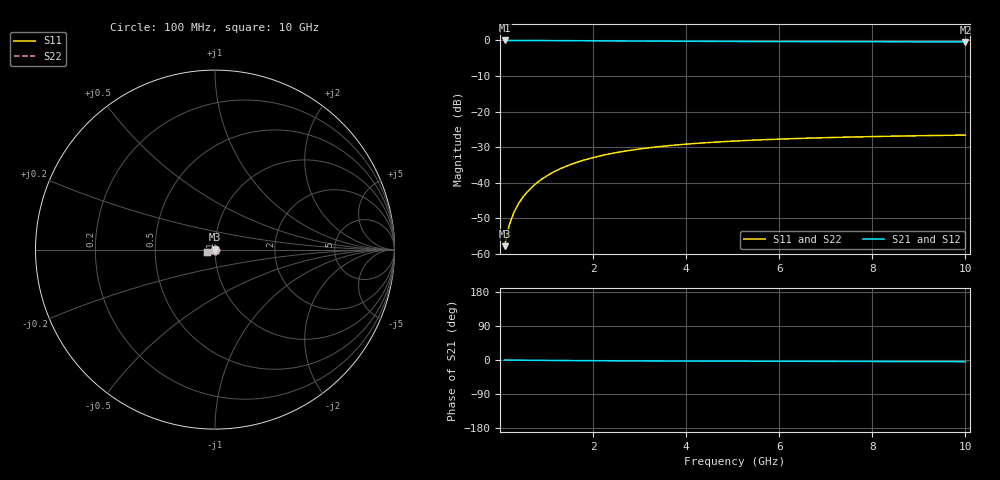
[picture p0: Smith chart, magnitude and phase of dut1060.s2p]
! Touchstone file exported from HFSS 2024.1.0
!  File:  C:/UserFiles/LocalFiles/RDL_TSV_Batchsim/temp_TSV1_1060_1780063478.aedt
!  Generated:  10:11:20 PM May 29, 2026
!  Design:  TSV1
!  Project:  temp_TSV1_1060_1780063478
!  Setup:  Setup1
!  Solution:  Sweep
! Variables:
!  dtsv = 12.77um
!  hbump = 3um
!  htsv = 64.85um
!  lrdl = 252.1521522um
!  p = 40
!  p1 = 46.8um
!  t = 500um
!  trdl = 3um
!  wrdl = 24.89489489um
# GHz S MA R 50.000000
! Terminal data exported
! Port[1] = TSV22_T1
! Port[2] = TSV22_T2
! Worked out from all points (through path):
!   100 points, 100 MHz to 10 GHz, reference 50 ohm
!   highest |S21| = 0.00 dB at 100 MHz (marker M1); lowest = -0.4 dB at 10 GHz (marker M2)
!   lowest |S11| = -57.8 dB at 100 MHz (marker M3), VSWR 1.00, Z = 50 - j0.129 ohm
!   |S11| at or under -10 dB: start of sweep to end of sweep
!   |S22| runs from -57.8 to -26.6 dB; largest |S21 - S12| = 5.2e-15
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0.1  0.001286 -88.0  0.9999 -0.1  0.9999 -0.1  0.001286 -88.0
! Gamma 0 0 0 0
! Port Impedance 50 0 50 0
0.2  0.002566 -91.5  0.9998 -0.2  0.9998 -0.2  0.002566 -91.5
0.3  0.003844 -93.8  0.9996 -0.3  0.9996 -0.3  0.003844 -93.8
0.4  0.005115 -95.7  0.9993 -0.4  0.9993 -0.4  0.005115 -95.7
0.5  0.006375 -97.5  0.999 -0.5  0.999 -0.5  0.006375 -97.5
0.6  0.007623 -99.2  0.9986 -0.7  0.9986 -0.7  0.007623 -99.2
0.7  0.008855 -100.8  0.9981 -0.8  0.9981 -0.8  0.008855 -100.8
0.8  0.01007 -102.4  0.9976 -0.9  0.9976 -0.9  0.01007 -102.4
0.9  0.01126 -104.0  0.997 -1.0  0.997 -1.0  0.01126 -104.0
1.1  0.01357 -107.0  0.9957 -1.1  0.9957 -1.1  0.01357 -107.0
1.4  0.01684 -111.3  0.9936 -1.4  0.9936 -1.4  0.01684 -111.3
1.6  0.01887 -114.1  0.992 -1.6  0.992 -1.6  0.01887 -114.1
1.8  0.02078 -116.7  0.9904 -1.7  0.9904 -1.7  0.02078 -116.7
2.1  0.02342 -120.4  0.9879 -1.9  0.9879 -1.9  0.02342 -120.4
2.5  0.02654 -124.9  0.9847 -2.1  0.9847 -2.1  0.02654 -124.9
2.9  0.02923 -128.9  0.9816 -2.3  0.9816 -2.3  0.02923 -128.9
3.4  0.03209 -133.4  0.9779 -2.6  0.9779 -2.6  0.03209 -133.4
4.2  0.0357 -139.5  0.9729 -2.8  0.9729 -2.8  0.0357 -139.5
5.1  0.03875 -145.0  0.9682 -3.1  0.9682 -3.1  0.03875 -145.0
6.7  0.0425 -152.5  0.9621 -3.5  0.9621 -3.5  0.0425 -152.5
8.4  0.04511 -158.6  0.9577 -3.9  0.9577 -3.9  0.04511 -158.6
10  0.0468 -163.2  0.9547 -4.3  0.9547 -4.3  0.0468 -163.2
